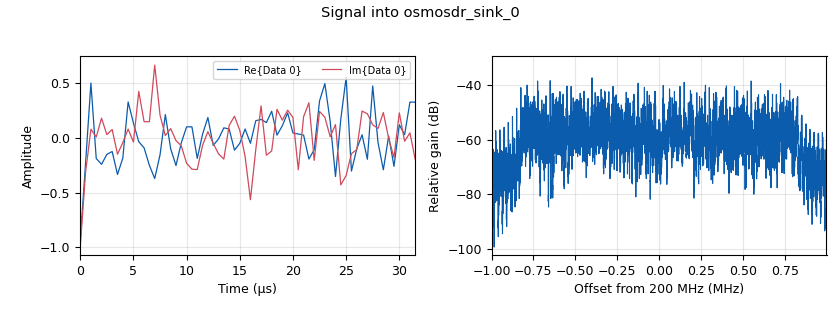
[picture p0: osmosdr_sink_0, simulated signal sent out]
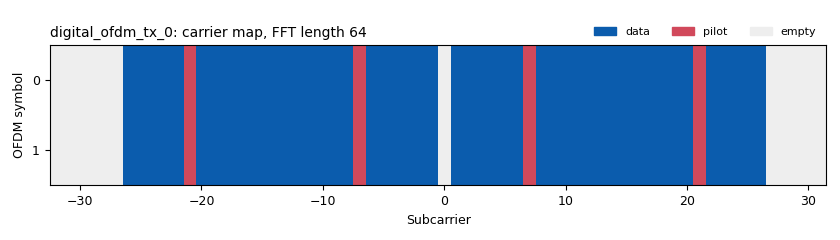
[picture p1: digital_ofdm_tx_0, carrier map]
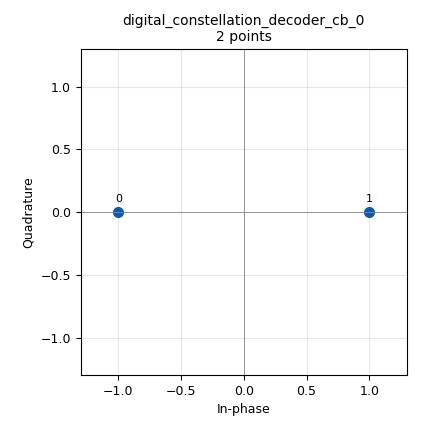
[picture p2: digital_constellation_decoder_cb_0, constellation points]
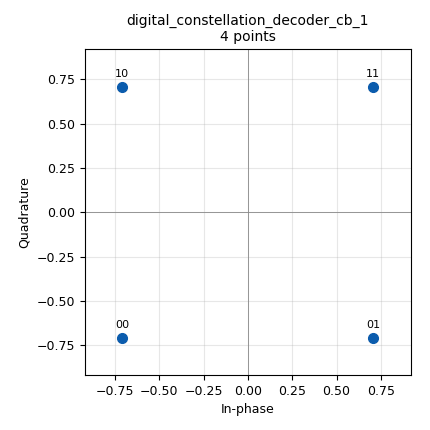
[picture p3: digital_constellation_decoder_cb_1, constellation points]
<?xml version='1.0' encoding='utf-8'?>
<?grc format='1' created='3.7.13'?>
<flow_graph>
<block>
<key>options</key>
<param><key>id</key><value>ofdm_hardware</value></param>
<param><key>category</key><value>Custom</value></param>
<param><key>generate_options</key><value>qt_gui</value></param>
</block>
<block>
<key>variable</key>
<param><key>id</key><value>carrier_freq</value></param>
<param><key>value</key><value>200e6</value></param>
</block>
<block>
<key>variable</key>
<param><key>id</key><value>fft_len</value></param>
<param><key>value</key><value>64</value></param>
</block>
<block>
<key>variable</key>
<param><key>id</key><value>header_equalizer</value></param>
<param><key>value</key><value>digital.ofdm_equalizer_simpledfe(fft_len, header_mod.base(), occupied_carriers, pilot_carriers, pilot_symbols)</value></param>
</block>
<block>
<key>variable</key>
<param><key>id</key><value>header_formatter</value></param>
<param><key>value</key><value>digital.packet_header_ofdm(occupied_carriers, n_syms=1, len_tag_key=packet_length_tag_key, frame_len_tag_key=length_tag_key, bits_per_header_sym=header_mod.bits_per_symbol(), bits_per_payload_sym=payload_mod.bits_per_symbol(), scramble_header=False)</value></param>
</block>
<block>
<key>variable</key>
<param><key>id</key><value>header_mod</value></param>
<param><key>value</key><value>digital.constellation_bpsk()</value></param>
</block>
<block>
<key>variable</key>
<param><key>id</key><value>intermediate_freq</value></param>
<param><key>value</key><value>200e6</value></param>
</block>
<block>
<key>variable</key>
<param><key>id</key><value>length_tag_key</value></param>
<param><key>value</key><value>"frame_len"</value></param>
</block>
<block>
<key>variable</key>
<param><key>id</key><value>occupied_carriers</value></param>
<param><key>value</key><value>(range(-26, -21) + range(-20, -7) + range(-6, 0) + range(1, 7) + range(8, 21) + range(22, 27),)</value></param>
</block>
<block>
<key>variable</key>
<param><key>id</key><value>packet_len</value></param>
<param><key>value</key><value>96</value></param>
</block>
<block>
<key>variable</key>
<param><key>id</key><value>packet_length_tag_key</value></param>
<param><key>value</key><value>"packet_len"</value></param>
</block>
<block>
<key>variable</key>
<param><key>id</key><value>payload_equalizer</value></param>
<param><key>value</key><value>digital.ofdm_equalizer_simpledfe(fft_len, payload_mod.base(), occupied_carriers, pilot_carriers, pilot_symbols, 1)</value></param>
</block>
<block>
<key>variable</key>
<param><key>id</key><value>payload_mod</value></param>
<param><key>value</key><value>digital.constellation_qpsk()</value></param>
</block>
<block>
<key>variable</key>
<param><key>id</key><value>pilot_carriers</value></param>
<param><key>value</key><value>((-21, -7, 7, 21,),)</value></param>
</block>
<block>
<key>variable</key>
<param><key>id</key><value>pilot_symbols</value></param>
<param><key>value</key><value>((1, 1, 1, -1,),)</value></param>
</block>
<block>
<key>variable</key>
<param><key>id</key><value>samp_rate</value></param>
<param><key>value</key><value>2000000</value></param>
</block>
<block>
<key>variable</key>
<param><key>id</key><value>sync_word1</value></param>
<param><key>value</key><value>[0., 0., 0., 0., 0., 0., 0., 1.41421356, 0., -1.41421356, 0., 1.41421356, 0., -1.41421356, 0., -1.41421356, 0., -1.41421356, 0., 1.41421356, 0., -1.41421356, 0., 1.41421356, 0., -1.41421356, 0., -1.41421356, 0., -1.41421356, 0., -1.41421356, 0., 1.41421356, 0., -1.41421356, 0., 1.41421356, 0., 1.41421356, 0., 1.41421356, 0., -1.41421356, 0., 1.41421356, 0., 1.41421356, 0., 1.41421356, 0., -1.41421356, 0., 1.41421356, 0., 1.41421356, 0., 1.41421356, 0., 0., 0., 0., 0., 0.]</value></param>
</block>
<block>
<key>variable</key>
<param><key>id</key><value>sync_word2</value></param>
<param><key>value</key><value>[0j, 0j, 0j, 0j, 0j, 0j, (-1+0j), (-1+0j), (-1+0j), (-1+0j), (1+0j), (1+0j), (-1+0j), (-1+0j), (-1+0j), (1+0j), (-1+0j), (1+0j), (1+0j), (1 +0j), (1+0j), (1+0j), (-1+0j), (-1+0j), (-1+0j), (-1+0j), (-1+0j), (1+0j), (-1+0j), (-1+0j), (1+0j), (-1+0j), 0j, (1+0j), (-1+0j), (1+0j), (1+0j), (1+0j), (-1+0j), (1+0j), (1+0j), (1+0j), (-1+0j), (1+0j), (1+0j), (1+0j), (1+0j), (-1+0j), (1+0j), (-1+0j), (-1+0j), (-1+0j), (1+0j), (-1+0j), (1+0j), (-1+0j), (-1+0j), (-1+0j), (-1+0j), 0j, 0j, 0j, 0j, 0j]</value></param>
</block>
<block>
<key>analog_frequency_modulator_fc</key>
<param><key>id</key><value>analog_frequency_modulator_fc_0</value></param>
<param><key>sensitivity</key><value>-2.0/fft_len</value></param>
</block>
<block>
<key>blocks_char_to_float</key>
<param><key>id</key><value>blocks_char_to_float_0</value></param>
<param><key>scale</key><value>1</value></param>
</block>
<block>
<key>blocks_delay</key>
<param><key>id</key><value>blocks_delay_0</value></param>
<param><key>delay</key><value>fft_len+fft_len/4</value></param>
<param><key>type</key><value>complex</value></param>
</block>
<block>
<key>blocks_multiply_const_vxx</key>
<param><key>id</key><value>blocks_multiply_const_vxx_0</value></param>
<param><key>const</key><value>0.025</value></param>
<param><key>type</key><value>complex</value></param>
</block>
<block>
<key>blocks_multiply_xx</key>
<param><key>id</key><value>blocks_multiply_xx_0</value></param>
<param><key>type</key><value>complex</value></param>
</block>
<block>
<key>blocks_repack_bits_bb</key>
<param><key>id</key><value>blocks_repack_bits_bb_0</value></param>
<param><key>k</key><value>payload_mod.bits_per_symbol()</value></param>
<param><key>l</key><value>8</value></param>
<param><key>endianness</key><value>gr.GR_LSB_FIRST</value></param>
<param><key>len_tag_key</key><value>packet_length_tag_key</value></param>
<param><key>align_output</key><value>True</value></param>
</block>
<block>
<key>blocks_stream_to_tagged_stream</key>
<param><key>id</key><value>blocks_stream_to_tagged_stream_0</value></param>
<param><key>len_tag_key</key><value>packet_length_tag_key</value></param>
<param><key>packet_len</key><value>packet_len</value></param>
<param><key>type</key><value>byte</value></param>
</block>
<block>
<key>blocks_tag_debug</key>
<param><key>id</key><value>blocks_tag_debug_1</value></param>
<param><key>type</key><value>byte</value></param>
<param><key>name</key><value>Rx Bytes</value></param>
</block>
<block>
<key>blocks_vector_source_x</key>
<param><key>id</key><value>blocks_vector_source_x_0</value></param>
<param><key>type</key><value>byte</value></param>
<param><key>repeat</key><value>True</value></param>
<param><key>tags</key><value>()</value></param>
<param><key>vector</key><value>range(packet_len)</value></param>
</block>
<block>
<key>blocks_vector_to_stream</key>
<param><key>id</key><value>blocks_vector_to_stream_0</value></param>
<param><key>type</key><value>complex</value></param>
<param><key>num_items</key><value>64</value></param>
</block>
<block>
<key>digital_constellation_decoder_cb</key>
<param><key>id</key><value>digital_constellation_decoder_cb_0</value></param>
<param><key>constellation</key><value>header_mod.base()</value></param>
</block>
<block>
<key>digital_constellation_decoder_cb</key>
<param><key>id</key><value>digital_constellation_decoder_cb_1</value></param>
<param><key>constellation</key><value>payload_mod.base()</value></param>
</block>
<block>
<key>digital_crc32_bb</key>
<param><key>id</key><value>digital_crc32_bb_0</value></param>
<param><key>lengthtagname</key><value>packet_length_tag_key</value></param>
<param><key>check</key><value>True</value></param>
<param><key>packed</key><value>True</value></param>
</block>
<block>
<key>digital_header_payload_demux</key>
<param><key>id</key><value>digital_header_payload_demux_0</value></param>
<param><key>guard_interval</key><value>fft_len/4</value></param>
<param><key>header_len</key><value>3</value></param>
<param><key>header_padding</key><value>0</value></param>
<param><key>type</key><value>complex</value></param>
<param><key>items_per_symbol</key><value>fft_len</value></param>
<param><key>length_tag_key</key><value>length_tag_key</value></param>
<param><key>output_symbols</key><value>True</value></param>
<param><key>samp_rate</key><value>samp_rate</value></param>
<param><key>special_tags</key><value>()</value></param>
<param><key>timing_tag_key</key><value>"rx_time"</value></param>
</block>
<block>
<key>digital_ofdm_chanest_vcvc</key>
<param><key>id</key><value>digital_ofdm_chanest_vcvc_0</value></param>
<param><key>force_one_symbol</key><value>False</value></param>
<param><key>max_carr_offset</key><value>3</value></param>
<param><key>n_data_symbols</key><value>1</value></param>
<param><key>sync_symbol1</key><value>sync_word1</value></param>
<param><key>sync_symbol2</key><value>sync_word2</value></param>
</block>
<block>
<key>digital_ofdm_frame_equalizer_vcvc</key>
<param><key>id</key><value>digital_ofdm_frame_equalizer_vcvc_0</value></param>
<param><key>cp_len</key><value>fft_len/4</value></param>
<param><key>equalizer</key><value>header_equalizer.base()</value></param>
<param><key>fft_len</key><value>fft_len</value></param>
<param><key>fixed_frame_len</key><value>1</value></param>
<param><key>len_tag_key</key><value>length_tag_key</value></param>
<param><key>propagate_channel_state</key><value>True</value></param>
</block>
<block>
<key>digital_ofdm_frame_equalizer_vcvc</key>
<param><key>id</key><value>digital_ofdm_frame_equalizer_vcvc_1</value></param>
<param><key>cp_len</key><value>fft_len/4</value></param>
<param><key>equalizer</key><value>payload_equalizer.base()</value></param>
<param><key>fft_len</key><value>fft_len</value></param>
<param><key>len_tag_key</key><value>length_tag_key</value></param>
<param><key>propagate_channel_state</key><value>True</value></param>
</block>
<block>
<key>digital_ofdm_serializer_vcc</key>
<param><key>id</key><value>digital_ofdm_serializer_vcc_header</value></param>
<param><key>carr_offset_key</key><value></value></param>
<param><key>fft_len</key><value>fft_len</value></param>
<param><key>len_tag_key</key><value>length_tag_key</value></param>
<param><key>occupied_carriers</key><value>occupied_carriers</value></param>
<param><key>packet_len_tag_key</key><value></value></param>
</block>
<block>
<key>digital_ofdm_serializer_vcc</key>
<param><key>id</key><value>digital_ofdm_serializer_vcc_payload</value></param>
<param><key>carr_offset_key</key><value></value></param>
<param><key>fft_len</key><value>fft_len</value></param>
<param><key>len_tag_key</key><value>length_tag_key</value></param>
<param><key>occupied_carriers</key><value>occupied_carriers</value></param>
<param><key>packet_len_tag_key</key><value>packet_length_tag_key</value></param>
<param><key>symbols_skipped</key><value>1</value></param>
</block>
<block>
<key>digital_ofdm_sync_sc_cfb</key>
<param><key>id</key><value>digital_ofdm_sync_sc_cfb_0</value></param>
<param><key>cp_len</key><value>fft_len/4</value></param>
<param><key>fft_len</key><value>fft_len</value></param>
<param><key>threshold</key><value>0.9</value></param>
</block>
<block>
<key>digital_ofdm_tx</key>
<param><key>id</key><value>digital_ofdm_tx_0</value></param>
<param><key>cp_len</key><value>fft_len/4</value></param>
<param><key>fft_len</key><value>fft_len</value></param>
<param><key>header_mod</key><value>"BPSK"</value></param>
<param><key>packet_len_key</key><value>packet_length_tag_key</value></param>
<param><key>occupied_carriers</key><value>occupied_carriers</value></param>
<param><key>payload_mod</key><value>"QPSK"</value></param>
<param><key>pilot_carriers</key><value>pilot_carriers</value></param>
<param><key>pilot_symbols</key><value>pilot_symbols</value></param>
<param><key>rolloff</key><value>0</value></param>
<param><key>sync_word1</key><value>sync_word1</value></param>
<param><key>sync_word2</key><value>sync_word2</value></param>
</block>
<block>
<key>digital_packet_headerparser_b</key>
<param><key>id</key><value>digital_packet_headerparser_b_0</value></param>
<param><key>header_formatter</key><value>header_formatter.base()</value></param>
</block>
<block>
<key>fft_vxx</key>
<param><key>id</key><value>fft_vxx_0</value></param>
<param><key>fft_size</key><value>fft_len</value></param>
<param><key>forward</key><value>True</value></param>
<param><key>type</key><value>complex</value></param>
<param><key>shift</key><value>True</value></param>
<param><key>window</key><value>()</value></param>
</block>
<block>
<key>fft_vxx</key>
<param><key>id</key><value>fft_vxx_1</value></param>
<param><key>fft_size</key><value>fft_len</value></param>
<param><key>forward</key><value>True</value></param>
<param><key>type</key><value>complex</value></param>
<param><key>shift</key><value>True</value></param>
<param><key>window</key><value></value></param>
</block>
<block>
<key>import</key>
<param><key>id</key><value>import_1</value></param>
<param><key>import</key><value>from gnuradio.digital.utils import tagged_streams</value></param>
</block>
<block>
<key>osmosdr_sink</key>
<param><key>id</key><value>osmosdr_sink_0</value></param>
<param><key>bb_gain0</key><value>20</value></param>
<param><key>freq0</key><value>carrier_freq</value></param>
<param><key>if_gain0</key><value>20</value></param>
<param><key>gain0</key><value>15</value></param>
<param><key>args</key><value></value></param>
<param><key>type</key><value>fc32</value></param>
<param><key>sample_rate</key><value>samp_rate</value></param>
<param><key>sync</key><value></value></param>
</block>
<block>
<key>qtgui_const_sink_x</key>
<param><key>id</key><value>qtgui_const_sink_x_0</value></param>
<param><key>name</key><value>"After Equalizer"</value></param>
<param><key>size</key><value>1024</value></param>
<param><key>type</key><value>complex</value></param>
</block>
<block>
<key>qtgui_const_sink_x</key>
<param><key>id</key><value>qtgui_const_sink_x_0_0</value></param>
<param><key>autoscale</key><value>True</value></param>
<param><key>name</key><value>"Before Equalizer"</value></param>
<param><key>size</key><value>1024</value></param>
<param><key>type</key><value>complex</value></param>
</block>
<block>
<key>qtgui_const_sink_x</key>
<param><key>id</key><value>qtgui_const_sink_x_0_1</value></param>
<param><key>_enabled</key><value>0</value></param>
<param><key>name</key><value>"Header"</value></param>
<param><key>size</key><value>1024</value></param>
<param><key>type</key><value>complex</value></param>
</block>
<block>
<key>qtgui_freq_sink_x</key>
<param><key>id</key><value>qtgui_freq_sink_x_0</value></param>
<param><key>bw</key><value>samp_rate</value></param>
<param><key>fc</key><value>0</value></param>
<param><key>fftsize</key><value>1024</value></param>
<param><key>name</key><value>"Rx Spectrum"</value></param>
<param><key>showports</key><value>True</value></param>
<param><key>type</key><value>complex</value></param>
<param><key>wintype</key><value>firdes.WIN_BLACKMAN_hARRIS</value></param>
</block>
<block>
<key>qtgui_time_sink_x</key>
<param><key>id</key><value>qtgui_time_sink_x_0</value></param>
<param><key>autoscale</key><value>True</value></param>
<param><key>entags</key><value>False</value></param>
<param><key>color1</key><value>"blue"</value></param>
<param><key>label1</key><value></value></param>
<param><key>name</key><value>"Rx Signal"</value></param>
<param><key>size</key><value>1024</value></param>
<param><key>srate</key><value>samp_rate</value></param>
<param><key>type</key><value>float</value></param>
</block>
<block>
<key>rtlsdr_source</key>
<param><key>id</key><value>rtlsdr_source_0</value></param>
<param><key>bb_gain0</key><value>20</value></param>
<param><key>dc_offset_mode0</key><value>2</value></param>
<param><key>freq0</key><value>intermediate_freq</value></param>
<param><key>gain_mode0</key><value>False</value></param>
<param><key>if_gain0</key><value>30</value></param>
<param><key>iq_balance_mode0</key><value>2</value></param>
<param><key>gain0</key><value>30</value></param>
<param><key>args</key><value></value></param>
<param><key>type</key><value>fc32</value></param>
<param><key>sample_rate</key><value>samp_rate</value></param>
<param><key>sync</key><value></value></param>
</block>
<block>
<key>virtual_sink</key>
<param><key>id</key><value>virtual_sink_0</value></param>
<param><key>stream_id</key><value>Header Stream</value></param>
</block>
<block>
<key>virtual_sink</key>
<param><key>id</key><value>virtual_sink_1</value></param>
<param><key>stream_id</key><value>Payload Stream</value></param>
</block>
<block>
<key>virtual_sink</key>
<param><key>id</key><value>virtual_sink_1_0</value></param>
<param><key>stream_id</key><value>Payload IQ</value></param>
</block>
<block>
<key>virtual_source</key>
<param><key>id</key><value>virtual_source_0</value></param>
<param><key>stream_id</key><value>Header Stream</value></param>
</block>
<block>
<key>virtual_source</key>
<param><key>id</key><value>virtual_source_0_0</value></param>
<param><key>stream_id</key><value>Payload IQ</value></param>
</block>
<block>
<key>virtual_source</key>
<param><key>id</key><value>virtual_source_1</value></param>
<param><key>stream_id</key><value>Payload Stream</value></param>
</block>
<connection><source_block_id>analog_frequency_modulator_fc_0</source_block_id><sink_block_id>blocks_multiply_xx_0</sink_block_id><source_key>0</source_key><sink_key>1</sink_key></connection>
<connection><source_block_id>blocks_char_to_float_0</source_block_id><sink_block_id>qtgui_time_sink_x_0</sink_block_id><source_key>0</source_key><sink_key>0</sink_key></connection>
<connection><source_block_id>blocks_delay_0</source_block_id><sink_block_id>blocks_multiply_xx_0</sink_block_id><source_key>0</source_key><sink_key>0</sink_key></connection>
<connection><source_block_id>blocks_multiply_const_vxx_0</source_block_id><sink_block_id>osmosdr_sink_0</sink_block_id><source_key>0</source_key><sink_key>0</sink_key></connection>
<connection><source_block_id>blocks_multiply_xx_0</source_block_id><sink_block_id>digital_header_payload_demux_0</sink_block_id><source_key>0</source_key><sink_key>0</sink_key></connection>
<connection><source_block_id>blocks_repack_bits_bb_0</source_block_id><sink_block_id>digital_crc32_bb_0</sink_block_id><source_key>0</source_key><sink_key>0</sink_key></connection>
<connection><source_block_id>blocks_stream_to_tagged_stream_0</source_block_id><sink_block_id>digital_ofdm_tx_0</sink_block_id><source_key>0</source_key><sink_key>0</sink_key></connection>
<connection><source_block_id>blocks_vector_source_x_0</source_block_id><sink_block_id>blocks_stream_to_tagged_stream_0</sink_block_id><source_key>0</source_key><sink_key>0</sink_key></connection>
<connection><source_block_id>blocks_vector_to_stream_0</source_block_id><sink_block_id>qtgui_const_sink_x_0_0</sink_block_id><source_key>0</source_key><sink_key>0</sink_key></connection>
<connection><source_block_id>digital_constellation_decoder_cb_0</source_block_id><sink_block_id>digital_packet_headerparser_b_0</sink_block_id><source_key>0</source_key><sink_key>0</sink_key></connection>
<connection><source_block_id>digital_constellation_decoder_cb_1</source_block_id><sink_block_id>blocks_repack_bits_bb_0</sink_block_id><source_key>0</source_key><sink_key>0</sink_key></connection>
<connection><source_block_id>digital_crc32_bb_0</source_block_id><sink_block_id>blocks_char_to_float_0</sink_block_id><source_key>0</source_key><sink_key>0</sink_key></connection>
<connection><source_block_id>digital_crc32_bb_0</source_block_id><sink_block_id>blocks_tag_debug_1</sink_block_id><source_key>0</source_key><sink_key>0</sink_key></connection>
<connection><source_block_id>digital_header_payload_demux_0</source_block_id><sink_block_id>virtual_sink_0</sink_block_id><source_key>0</source_key><sink_key>0</sink_key></connection>
<connection><source_block_id>digital_header_payload_demux_0</source_block_id><sink_block_id>virtual_sink_1</sink_block_id><source_key>1</source_key><sink_key>0</sink_key></connection>
<connection><source_block_id>digital_ofdm_chanest_vcvc_0</source_block_id><sink_block_id>digital_ofdm_frame_equalizer_vcvc_0</sink_block_id><source_key>0</source_key><sink_key>0</sink_key></connection>
<connection><source_block_id>digital_ofdm_frame_equalizer_vcvc_0</source_block_id><sink_block_id>digital_ofdm_serializer_vcc_header</sink_block_id><source_key>0</source_key><sink_key>0</sink_key></connection>
<connection><source_block_id>digital_ofdm_frame_equalizer_vcvc_1</source_block_id><sink_block_id>digital_ofdm_serializer_vcc_payload</sink_block_id><source_key>0</source_key><sink_key>0</sink_key></connection>
<connection><source_block_id>digital_ofdm_serializer_vcc_header</source_block_id><sink_block_id>digital_constellation_decoder_cb_0</sink_block_id><source_key>0</source_key><sink_key>0</sink_key></connection>
<connection><source_block_id>digital_ofdm_serializer_vcc_header</source_block_id><sink_block_id>qtgui_const_sink_x_0_1</sink_block_id><source_key>0</source_key><sink_key>0</sink_key></connection>
<connection><source_block_id>digital_ofdm_serializer_vcc_payload</source_block_id><sink_block_id>qtgui_const_sink_x_0</sink_block_id><source_key>0</source_key><sink_key>0</sink_key></connection>
<connection><source_block_id>digital_ofdm_serializer_vcc_payload</source_block_id><sink_block_id>virtual_sink_1_0</sink_block_id><source_key>0</source_key><sink_key>0</sink_key></connection>
<connection><source_block_id>digital_ofdm_sync_sc_cfb_0</source_block_id><sink_block_id>digital_header_payload_demux_0</sink_block_id><source_key>1</source_key><sink_key>1</sink_key></connection>
<connection><source_block_id>digital_ofdm_sync_sc_cfb_0</source_block_id><sink_block_id>analog_frequency_modulator_fc_0</sink_block_id><source_key>0</source_key><sink_key>0</sink_key></connection>
<connection><source_block_id>digital_ofdm_tx_0</source_block_id><sink_block_id>blocks_multiply_const_vxx_0</sink_block_id><source_key>0</source_key><sink_key>0</sink_key></connection>
<connection><source_block_id>digital_packet_headerparser_b_0</source_block_id><sink_block_id>digital_header_payload_demux_0</sink_block_id><source_key>header_data</source_key><sink_key>header_data</sink_key></connection>
<connection><source_block_id>fft_vxx_0</source_block_id><sink_block_id>digital_ofdm_chanest_vcvc_0</sink_block_id><source_key>0</source_key><sink_key>0</sink_key></connection>
<connection><source_block_id>fft_vxx_1</source_block_id><sink_block_id>blocks_vector_to_stream_0</sink_block_id><source_key>0</source_key><sink_key>0</sink_key></connection>
<connection><source_block_id>fft_vxx_1</source_block_id><sink_block_id>digital_ofdm_frame_equalizer_vcvc_1</sink_block_id><source_key>0</source_key><sink_key>0</sink_key></connection>
<connection><source_block_id>rtlsdr_source_0</source_block_id><sink_block_id>blocks_delay_0</sink_block_id><source_key>0</source_key><sink_key>0</sink_key></connection>
<connection><source_block_id>rtlsdr_source_0</source_block_id><sink_block_id>digital_ofdm_sync_sc_cfb_0</sink_block_id><source_key>0</source_key><sink_key>0</sink_key></connection>
<connection><source_block_id>rtlsdr_source_0</source_block_id><sink_block_id>qtgui_freq_sink_x_0</sink_block_id><source_key>0</source_key><sink_key>0</sink_key></connection>
<connection><source_block_id>virtual_source_0</source_block_id><sink_block_id>fft_vxx_0</sink_block_id><source_key>0</source_key><sink_key>0</sink_key></connection>
<connection><source_block_id>virtual_source_0_0</source_block_id><sink_block_id>digital_constellation_decoder_cb_1</sink_block_id><source_key>0</source_key><sink_key>0</sink_key></connection>
<connection><source_block_id>virtual_source_1</source_block_id><sink_block_id>fft_vxx_1</sink_block_id><source_key>0</source_key><sink_key>0</sink_key></connection>
</flow_graph>
